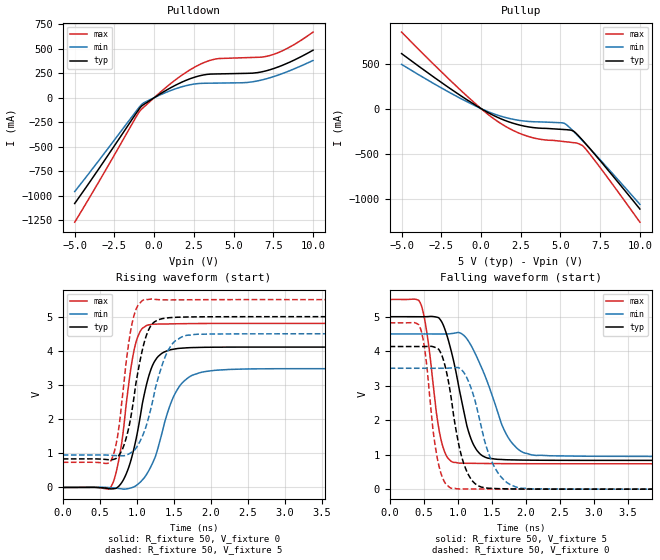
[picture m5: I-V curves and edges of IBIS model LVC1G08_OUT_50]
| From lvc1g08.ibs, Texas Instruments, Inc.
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[Model]   LVC1G08_OUT_50
Model_type  Output
Vref =   0.0
Rref =   500
Cref =   50p
Vmeas =   2.5
| variable   typ   min   max
C_comp   7.55pF   6.06pF   9.04pF
| C_pullup   7.91pF   6.06pF   8.96pF
| C_pulldown   7.19pF   6.10pF   9.04pF
[Temperature Range]   40   100   -40
| Ambient temperature   25   85   -40
[Voltage range]   5   4.5   5.5
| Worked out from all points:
|   slope of the pulldown table from 0 to 0.75 V, typ, clamps not added: 9.97 ohm
|   slope of the pullup table from 0 to 0.75 V, typ, clamps not added: 10.3 ohm
|   rising waveform, R_fixture 50, V_fixture 0: 20-80 % time 241ps typ, 315ps min, 177ps max; typ from 0 V to 4.11 V
|   rising waveform, R_fixture 50, V_fixture 5: 20-80 % time 208ps typ, 271ps min, 160ps max; typ from 0.835 V to 5 V
|   falling waveform, R_fixture 50, V_fixture 5: 20-80 % time 276ps typ, 406ps min, 183ps max; typ from 5 V to 0.835 V
|   falling waveform, R_fixture 50, V_fixture 0: 20-80 % time 230ps typ, 307ps min, 165ps max; typ from 4.13 V to 0 V
[Pulldown]
| LVC1G08_OUT_50
|   Voltage   I(typ)   I(min)   I(max)
-5V       -1.081A    -958.7mA   -1.272A
-930mV    -112.8mA   -95.57mA   -141.9mA
-615mV    -65.29mA   -48.71mA   -90.86mA
1.06V     103.7mA    74.73mA    147.4mA
2.29V     195.8mA    133.5mA    288.4mA
3.355V    239mA      148.3mA    373mA
4.1V      243.6mA    149.9mA    400.8mA
5.83V     249.3mA    155.5mA    409.8mA
6.505V    256.6mA    171.7mA    413.1mA
7.27V     285.1mA    203.2mA    430.8mA
8.495V    360.8mA    273.7mA    514.3mA
10V       485.6mA    380.4mA    670.9mA
[Pullup]
| LVC1G08_OUT_50
|   Voltage   I(typ)   I(min)   I(max)
-5V       610.5mA    490.7mA    849.3mA
-1.265V   141.7mA    110.6mA    201.1mA
150mV     -15.75mA   -12.02mA   -22.71mA
1.045V    -97.45mA   -73.04mA   -142.5mA
2.015V    -162.5mA   -118.6mA   -242mA
3.01V     -203.9mA   -143mA     -311.3mA
3.86V     -218.8mA   -148.7mA   -344.2mA
5.285V    -233.1mA   -167.8mA   -367.4mA
5.825V    -250.9mA   -252.6mA   -378.1mA
6.475V    -367.7mA   -371.7mA   -425.3mA
7.675V    -615.1mA   -602.6mA   -696.3mA
10V       -1.115A    -1.063A    -1.261A
[Ramp]
| LVC1G08_OUT_50
| variable   typ   min   max
dV/dt_r   2.49/2.51E-10   2.12/3.34E-10   2.91/1.84E-10
dV/dt_f   2.50/2.85E-10   2.16/4.30E-10   2.87/1.86E-10
R_load = 50
[Rising Waveform]
| LVC1G08_OUT_50
R_fixture =   50
C_fixture =   0
L_fixture =   0
V_fixture =   0
V_fixture_min = 0
V_fixture_max = 0
|   Time   V(typ)   V(min)   V(max)
0s        -4.309uV   -18.03uV   -912.5nV
660ps     -42.29mV   -10.18mV   56.21mV
780ps     94.94mV    -37.42mV   1.089V
985ps     1.367V     46.23mV    4.224V
1.125ns   2.963V     359.9mV    4.734V
1.23ns    3.655V     799mV      4.781V
1.455ns   4.033V     2.444V     4.79V
1.615ns   4.079V     3.068V     4.795V
2.43ns    4.11V      3.467V     4.804V
50ns      4.109V     3.475V     4.804V
[Rising Waveform]
| LVC1G08_OUT_50
R_fixture =   50
C_fixture =   0
L_fixture =   0
V_fixture =   5
V_fixture_min = 4.5
V_fixture_max = 5.5
|   Time   V(typ)   V(min)   V(max)
0s        835.1mV    949.4mV    736.2mV
655ps     808.7mV    940.1mV    804.8mV
745ps     904.2mV    930.9mV    1.566V
845ps     1.365V     938.8mV    3.451V
935ps     2.265V     1.037V     4.797V
1.12ns    4.394V     1.757V     5.509V
1.23ns    4.835V     2.696V     5.513V
1.43ns    4.969V     4.041V     5.492V
1.835ns   4.996V     4.488V     5.498V
50ns      5V         4.5V       5.5V
[Falling Waveform]
| LVC1G08_OUT_50
R_fixture =   50
C_fixture =   0
L_fixture =   0
V_fixture =   5
V_fixture_min = 4.5
V_fixture_max = 5.5
|   Time   V(typ)   V(min)   V(max)
0s        5V         4.5V       5.5V
460ps     4.998V     4.5V       5.353V
550ps     5.001V     4.5V       4.492V
760ps     4.865V     4.497V     1.387V
1.03ns    2.822V     4.532V     754.5mV
1.175ns   1.567V     4.234V     749.9mV
1.335ns   1.007V     3.591V     746mV
1.745ns   850.7mV    1.483V     739mV
2.155ns   839mV      978mV      736.8mV
50ns      835.1mV    949.4mV    736.2mV
[Falling Waveform]
| LVC1G08_OUT_50
R_fixture =   50
C_fixture =   0
L_fixture =   0
V_fixture =   0
V_fixture_min = 0
V_fixture_max = 0
|   Time   V(typ)   V(min)   V(max)
0s        4.135V     3.505V     4.823V
445ps     4.135V     3.505V     4.694V
520ps     4.135V     3.505V     3.982V
725ps     4.04V      3.505V     663.4mV
845ps     3.304V     3.506V     107.8mV
1.015ns   1.292V     3.518V     7.149mV
1.22ns    226.4mV    2.788V     6.508mV
1.575ns   16.36mV    520.6mV    3.033mV
2.1ns     2.646mV    5.998mV    571.9uV
50ns      5.851uV    -14.72uV   10.93uV
